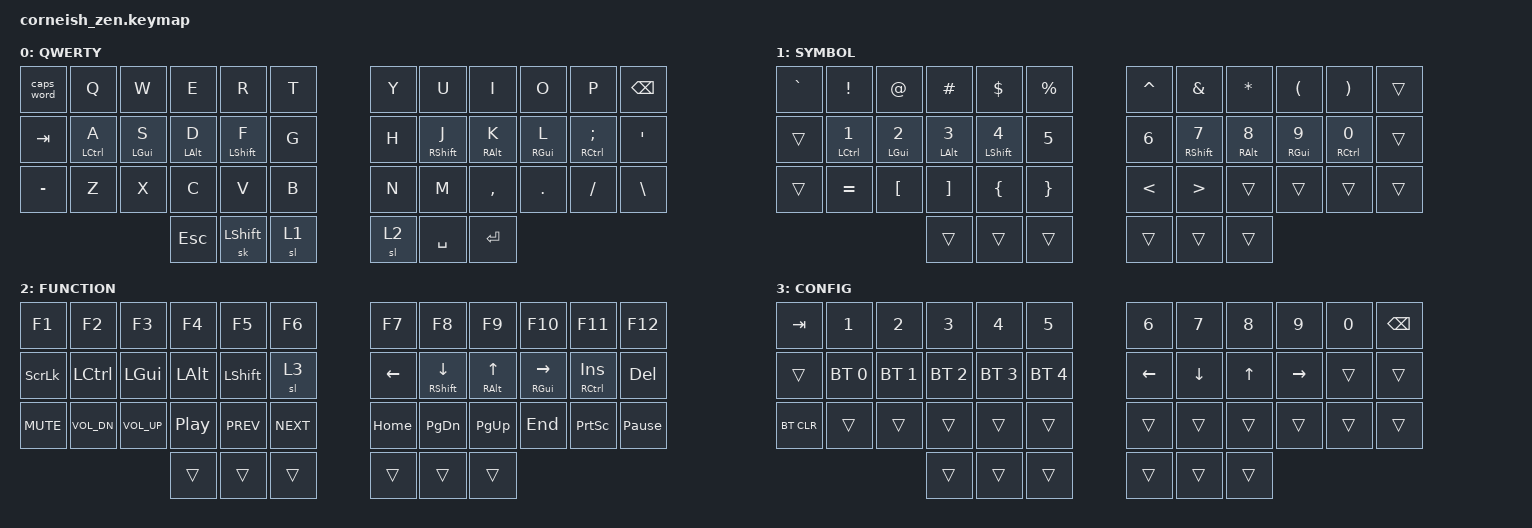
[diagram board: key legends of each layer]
#include <behaviors.dtsi>
#include <dt-bindings/zmk/keys.h>
#include <dt-bindings/zmk/bt.h>

/ {
  chosen {
    zmk,matrix_transform = &default_transform;
    //zmk,matrix_transform = &five_column_transform;
  };
};

&sk {
        quick-release;
};


/ {
        behaviors {
                bhml: balanced_homerow_mods_left {
                        compatible = "zmk,behavior-hold-tap";
                        label = "HOMEROW_MODS";
                        #binding-cells = <2>;
                        tapping-term-ms = <200>;    // <---[[moderate duration]]
                        quick-tap-ms = <200>;
                        require-prior-idle-ms = <75>;
                        flavor = "balanced";
                        bindings = <&kp>, <&kp>;
                        //hold-trigger-key-positions = <6 7 8 9 10 11 18 19 20 21 22 23 30 31 32 33 34 35 39 40 41>;
                };
                bhmr: balanced_homerow_mods_right {
                        compatible = "zmk,behavior-hold-tap";
                        label = "HOMEROW_MODS";
                        #binding-cells = <2>;
                        tapping-term-ms = <200>;    // <---[[moderate duration]]
                        quick-tap-ms = <200>;
                        require-prior-idle-ms = <75>;
                        flavor = "balanced";
                        bindings = <&kp>, <&kp>;
                        //hold-trigger-key-positions = <0 1 2 3 4 5 12 13 14 15 16 17 24 25 26 27 28 29 36 37 38>;
                };        
        };


        /*conditional_layers {
                compatible = "zmk,conditional-layers";
                tri_layer {
                        if-layers = <1 2>;
                        then-layer = <3>;
                };
        };*/

        keymap {
                compatible = "zmk,keymap";

                default_layer {
                        label = "QWERTY";
// -----------------------------------------------------------------------------------------
// | CAPS_WORD |  Q  |  W  |  E  |  R  |  T  |   |  Y  |  U   |  I  |  O  |  P  | BKSP |
// | TAB |  A  |  S  |  D  |  F  |  G  |   |  H  |  J   |  K  |  L  |  ;  |  '   |
// | MINUS |  Z  |  X  |  C  |  V  |  B  |   |  N  |  M   |  ,  |  .  |  /  | \ |
//                    | ESC | LSHIFT | LWR |   | RSE | SPACE  | ENT |
                        bindings = <
   &caps_word  &kp Q &kp W &kp E &kp R &kp T   &kp Y &kp U  &kp I     &kp O   &kp P    &kp BSPC
   &kp TAB &bhml LCTRL A &bhml LGUI S &bhml LALT D &bhml LSHIFT F &kp G   &kp H &bhmr RSHIFT J  &bhmr RALT K  &bhmr RGUI L   &bhmr RCTRL SEMI &kp SQT
   &kp MINUS &kp Z &kp X &kp C &kp V &kp B   &kp N &kp M  &kp COMMA &kp DOT &kp FSLH &kp BSLH
                  &kp ESC &sk LSHIFT &sl 1   &sl 2 &kp SPACE &kp RET
                        >;
                };
// -----------------------------------------------------------------------------------------
// | GRAVE |  !  |  @  |  #  |  $  |  %  |   |  ^  |  &   |  *  |  (  |  )  | BKSP |
// | TAB |  1  |  2  |  3  |  4  |  5  |   |  6  |  7   |  8  |  9  |  0  |  '   |
// | MINUS |  EQUAL  |  LBKT  |  RBKT  |  LBRC  |  RBRC  |   |  LT  |  GT   |  ,  |  .  |  /  | \ |
//                    | ESC | LSHIFT | LWR |   | RSE | SPACE  | ENT |
                lower_layer {
                        label = "SYMBOL";
                        bindings = <
        &kp GRAVE  &kp EXCL  &kp AT  &kp HASH  &kp DLLR  &kp PRCNT  &kp CARET  &kp AMPS  &kp ASTRK  &kp LPAR  &kp RPAR  &trans
        &trans  &bhml LCTRL N1  &bhml LGUI N2  &bhml LALT N3  &bhml LSHIFT N4  &kp N5  &kp N6  &bhmr RSHIFT N7  &bhmr RALT N8  &bhmr RGUI N9  &bhmr RCTRL N0  &trans
        //&trans  &trans       &trans       &trans       &trans       &trans &trans  &trans       &trans       &trans       &trans       &trans
        &trans  &kp EQUAL  &kp LBKT  &kp RBKT  &kp LBRC  &kp RBRC  &kp LT  &kp GT  &trans  &trans  &trans  &trans
                        &trans  &trans       &trans       &trans       &trans       &trans
                        >; 
                };
// -----------------------------------------------------------------------------------------
// | F1 |  F2  |  F3  |  F4  |  F5  |  F6  |   |  F7  |  F8   |  F9  |  F10  |  F11  | F12 |
// | SLCK |  LCTRL  |  LGUI  |  LALT  |  LSHIFT  |  SL 3  |   |  LEFT  |  DOWN   |  UP  |  RIGHT  |  INS  |  DEL  |
// | C_MUTE |  C_VOL_DOWN  |  C_VOL_UP  |  C_PP  |  C_PREV  |  C_NEXT  |   |  HOME  |  PG_DN   |  PG_UP  |  END  |  PSCRN  | PAUSE_BREAK |
//                    | ESC | LSHIFT | LWR |   | RSE | SPACE  | ENT |
                raise_layer {
                        label = "FUNCTION";
                        bindings = <
        &kp F1 &kp F2 &kp F3 &kp F4 &kp F5 &kp F6 &kp F7 &kp F8 &kp F9 &kp F10 &kp F11 &kp F12
        &kp SLCK &kp LCTRL &kp LGUI &kp LALT &kp LSHIFT &sl 3     &kp LEFT &bhmr RSHIFT DOWN &bhmr RALT UP &bhmr RGUI RIGHT &bhmr RCTRL INS &kp DEL
        &kp C_MUTE  &kp C_VOL_DN  &kp C_VOL_UP  &kp C_PP  &kp C_PREV  &kp C_NEXT         &kp HOME  &kp PG_DN   &kp PG_UP      &kp END       &kp PSCRN       &kp PAUSE_BREAK
        &trans  &trans       &trans       &trans       &trans       &trans 
                        >;
                };
                tri_layer {
                        label = "CONFIG";
// -----------------------------------------------------------------------------------------
// |  TAB |  1  |  2  |  3  |  4  |  5  |   |  6  |  7  |  8  |  9  |  0  | BKSP |
// | TAB | BT1 | BT2 | BT3 | BT4 | BT5 |   | LFT | DWN |  UP | RGT |     |      |
// | BTCLR |     |     |     |     |     |   |     |     |     |     |     |      |
//                    | GUI |     | SPC |   | ENT |     | ALT |
                        bindings = <
   &kp TAB    &kp N1       &kp N2       &kp N3       &kp N4       &kp N5         &kp N6   &kp N7   &kp N8 &kp N9    &kp N0 &kp BSPC
   &trans &bt BT_SEL 0 &bt BT_SEL 1 &bt BT_SEL 2 &bt BT_SEL 3 &bt BT_SEL 4   &kp LEFT &kp DOWN &kp UP &kp RIGHT &trans &trans
   &bt BT_CLR  &trans       &trans       &trans       &trans       &trans         &trans   &trans   &trans &trans    &trans &trans
                          	        &trans  &trans       &trans       &trans       &trans       &trans 
                        >;
                };
        };
};
